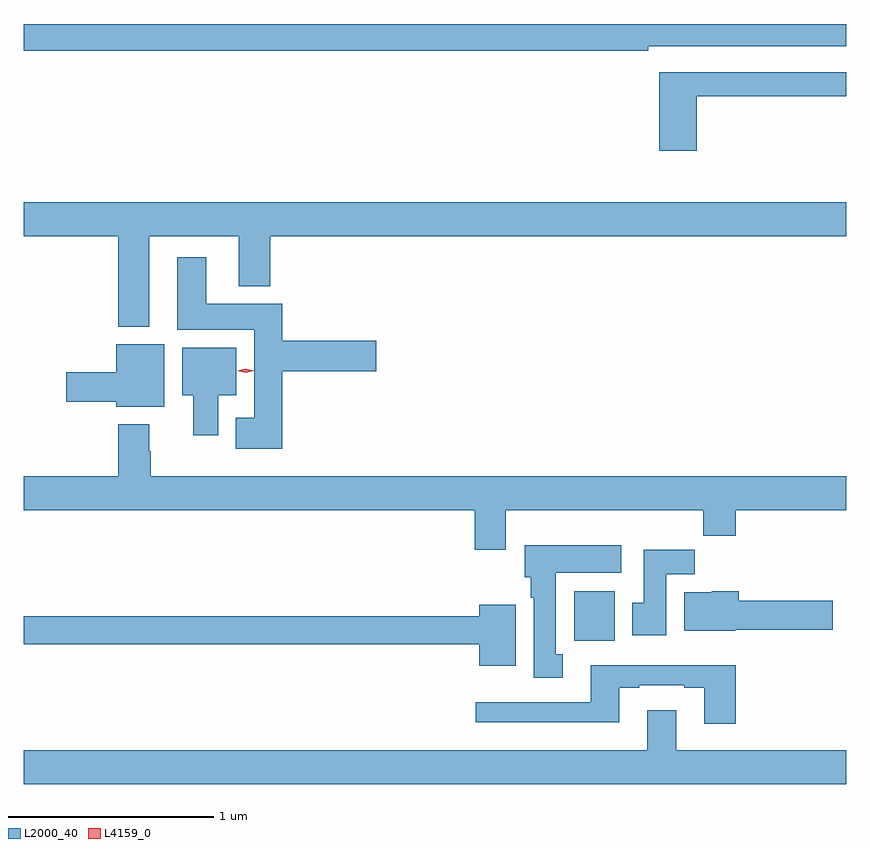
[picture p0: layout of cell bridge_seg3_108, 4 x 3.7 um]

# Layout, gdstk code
import gdstk
lib = gdstk.Library(unit=1e-6, precision=1e-09)
def R(c, l, rs):  # rectangles x0, y0, x1, y1
    for r in rs: c.add(gdstk.rectangle(r[:2], r[2:], *l))
def P(c, l, *ps):  # polygons
    for p in ps: c.add(gdstk.Polygon(p, *l))
L2000_40 = (2000, 40)
L4159_0 = (4159, 0)

bridge_seg3_108 = lib.new_cell('bridge_seg3_108')
R(bridge_seg3_108, L2000_40, [(638,722.924,638.197,723.166)])
P(bridge_seg3_108, L2000_40, [(638.36,725.814),(639.324,725.814),(639.324,725.923),(635.324,725.923),(635.324,725.794),(638.36,725.794)],
  [(638.597,725.572),(639.324,725.572),(639.324,725.688),(638.414,725.688),(638.414,725.307),(638.597,725.307)],
  [(635.935,724.892),(636.371,724.892),(636.371,724.649),(636.524,724.649),(636.524,724.892),(639.324,724.892),(639.324,725.056),(635.324,725.056),(635.324,724.892),(635.783,724.892),(635.783,724.451),(635.935,724.451)],
  [(636.581,724.235),(637.039,724.235),(637.039,724.382),(636.581,724.382),(636.581,724.564),(636.211,724.564),(636.211,724.789),(636.071,724.789),(636.071,724.436),(636.446,724.436),(636.446,724.009),(636.356,724.009),(636.356,723.857),(636.581,723.857)],
  [(636.007,724.366),(635.774,724.366),(635.774,724.229),(635.532,724.229),(635.532,724.087),(635.774,724.087),(635.774,724.061),(636.007,724.061)],
  [(636.271,724.118),(636.358,724.118),(636.358,724.348),(636.095,724.348),(636.095,724.118),(636.149,724.118),(636.149,723.924),(636.271,723.924)],
  [(637.669,723.56),(638.629,723.56),(638.629,723.436),(638.786,723.436),(638.786,723.56),(639.324,723.56),(639.324,723.724),(635.943,723.724),(635.943,723.845),(635.935,723.845),(635.935,723.976),(635.783,723.976),(635.783,723.724),(635.324,723.724),(635.324,723.56),(637.517,723.56),(637.517,723.366),(637.669,723.366)],
  [(637.945,722.858),(637.912,722.858),(637.912,723.254),(638.23,723.254),(638.23,723.388),(637.76,723.388),(637.76,723.234),(637.79,723.234),(637.79,723.134),(637.805,723.134),(637.805,722.745),(637.945,722.745)],
  [(638.449,723.248),(638.588,723.248),(638.588,723.367),(638.339,723.367),(638.339,723.108),(638.282,723.108),(638.282,722.952),(638.449,722.952)],
  [(638.784,722.978),(639.259,722.978),(639.259,723.12),(638.801,723.12),(638.801,723.166),(638.67,723.166),(638.67,723.16),(638.537,723.16),(638.537,722.972),(638.784,722.972)],
  [(637.717,723.1),(637.538,723.1),(637.538,723.044),(635.324,723.044),(635.324,722.908),(637.538,722.908),(637.538,722.804),(637.717,722.804)],
  [(638.786,722.806),(638.081,722.806),(638.081,722.625),(637.521,722.625),(637.521,722.528),(638.221,722.528),(638.221,722.697),(638.317,722.697),(638.317,722.709),(638.537,722.709),(638.537,722.697),(638.633,722.697),(638.633,722.52),(638.786,722.52)],
  [(639.324,722.392),(638.497,722.392),(638.497,722.587),(638.357,722.587),(638.357,722.392),(635.324,722.392),(635.324,722.228),(639.324,722.228)])
P(bridge_seg3_108, L4159_0, [(636.403,724.228),(636.363,724.238),(636.363,724.238),(636.363,724.238),(636.402,724.248),(636.442,724.238),(636.442,724.238),(636.442,724.238)])

lib.write_gds('bridge_seg3_108.gds')
